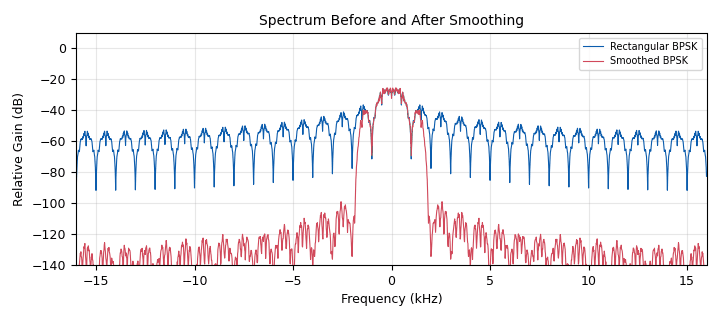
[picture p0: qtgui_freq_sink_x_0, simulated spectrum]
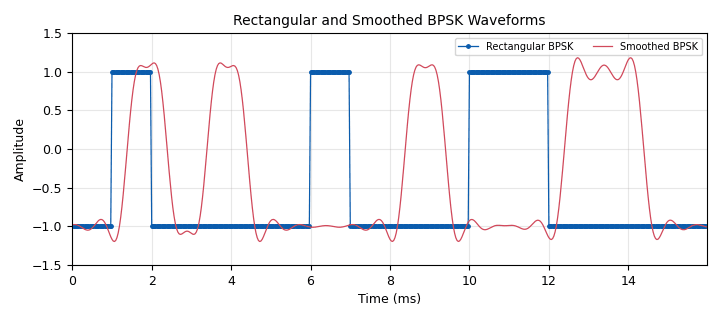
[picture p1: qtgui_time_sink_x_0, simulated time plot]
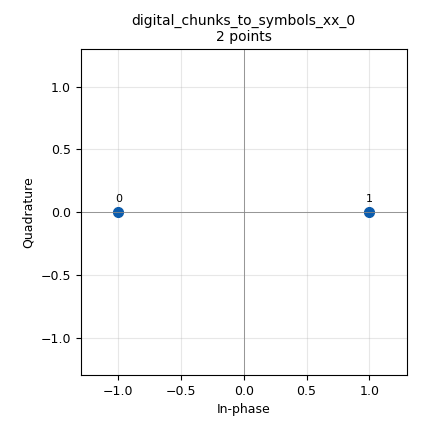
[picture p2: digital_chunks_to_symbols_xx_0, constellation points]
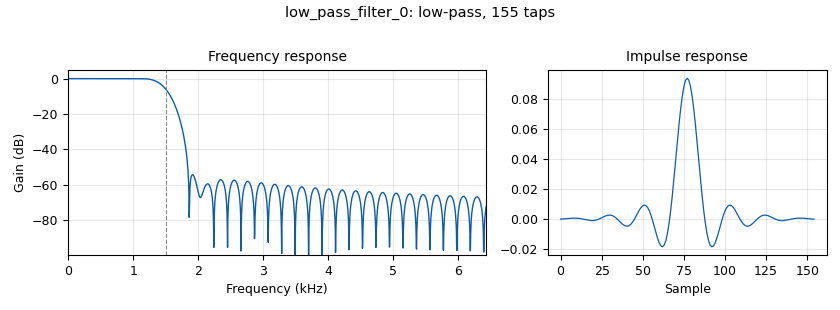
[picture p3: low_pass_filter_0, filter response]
options:
  parameters:
    author: Dhrubjun
    generate_options: qt_gui
    id: exp2
    output_language: python
    title: Pulse Smoothing and Spectrum
  states: {}

blocks:
- name: samp_rate
  id: variable
  parameters:
    value: '32000'
  states: {}
- name: sps
  id: variable
  parameters:
    value: int(samp_rate / symbol_rate)
  states: {}
- name: symbol_rate
  id: variable_qtgui_range
  parameters:
    label: Symbol Rate
    start: '500'
    step: '500'
    stop: '3000'
    value: '1000'
  states: {}
- name: analog_random_source_x_0
  id: analog_random_source_x
  parameters:
    max: '2'
    min: '0'
    num_samps: '1000'
    repeat: 'True'
    type: byte
  states: {}
- name: blocks_repeat_0_0
  id: blocks_repeat
  parameters:
    interp: sps
    type: float
  states: {}
- name: blocks_throttle2_0
  id: blocks_throttle2
  parameters:
    samples_per_second: samp_rate
    type: float
  states: {}
- name: digital_chunks_to_symbols_xx_0
  id: digital_chunks_to_symbols_xx
  parameters:
    dimension: '1'
    in_type: byte
    out_type: float
    symbol_table: '[-1, 1]'
  states: {}
- name: low_pass_filter_0
  id: low_pass_filter
  parameters:
    cutoff_freq: '1500'
    decim: '1'
    gain: '1'
    samp_rate: samp_rate
    type: fir_filter_fff
    width: '500'
    win: window.WIN_HAMMING
  states: {}
- name: qtgui_freq_sink_x_0
  id: qtgui_freq_sink_x
  parameters:
    average: '0.05'
    bw: samp_rate
    fc: '0'
    fftsize: '2048'
    grid: 'True'
    label1: Rectangular BPSK
    label2: Smoothed BPSK
    name: Spectrum Before and After Smoothing
    nconnections: '2'
    type: float
  states: {}
- name: qtgui_time_sink_x_0
  id: qtgui_time_sink_x
  parameters:
    grid: 'True'
    label1: Rectangular BPSK
    label2: Smoothed BPSK
    marker1: '0'
    name: Rectangular and Smoothed BPSK Waveforms
    nconnections: '2'
    size: '512'
    srate: samp_rate
    style1: '2'
    type: float
    ymax: '1.5'
    ymin: '-1.5'
  states: {}

connections:
- [analog_random_source_x_0, '0', digital_chunks_to_symbols_xx_0, '0']
- [blocks_repeat_0_0, '0', blocks_throttle2_0, '0']
- [blocks_throttle2_0, '0', low_pass_filter_0, '0']
- [blocks_throttle2_0, '0', qtgui_freq_sink_x_0, '0']
- [blocks_throttle2_0, '0', qtgui_time_sink_x_0, '0']
- [digital_chunks_to_symbols_xx_0, '0', blocks_repeat_0_0, '0']
- [low_pass_filter_0, '0', qtgui_freq_sink_x_0, '1']
- [low_pass_filter_0, '0', qtgui_time_sink_x_0, '1']

metadata:
  file_format: 1
  grc_version: 3.10.12.0
